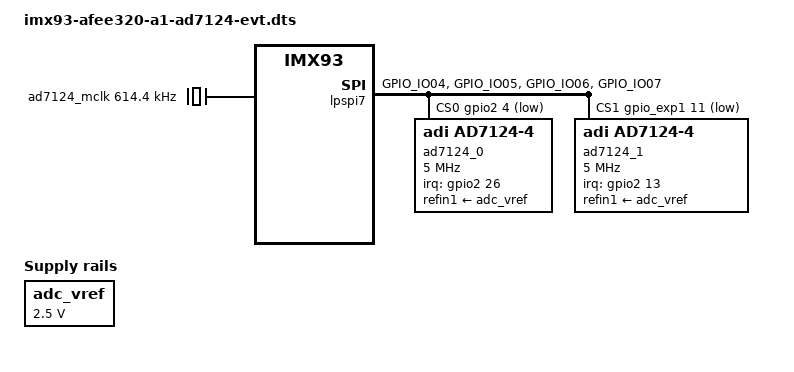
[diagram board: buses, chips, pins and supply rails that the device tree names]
// SPDX-License-Identifier: (GPL-2.0+ OR MIT)
/*
 * Copyright 2022 NXP
 */

#include "imx93-afee320-a1.dts"

/ {
	ad7124_mclk: ad7124_mclk {
		compatible = "fixed-clock";
		#clock-cells = <0>;
		clock-frequency = <614400>; /* 614.4kHz */
	};

	adc_vref: regulator-adv-vref-2v5 {
		compatible = "regulator-fixed";
		regulator-name = "adc_vref_2v5";
		regulator-min-microvolt = <2500000>;
		regulator-max-microvolt = <2500000>;
	};
};

&lpspi7 {
	num-cs = <2>;
	pinctrl-names = "default";
	pinctrl-0 = <&pinctrl_lpspi7>;
	pinctrl-1 = <&pinctrl_lpspi7>;
	cs-gpios = <&gpio2 4 GPIO_ACTIVE_LOW>, <&gpio_exp1 11 GPIO_ACTIVE_LOW>;
	status = "okay";

	ad7124_0: ad7124@0 {
		compatible = "adi,ad7124-4";
		reg = <0x0>;
		pinctrl-names = "default";
		pinctrl-0 = <&pinctrl_ad7124>;
		interrupt-parent = <&gpio2>;
		interrupts = <26 IRQ_TYPE_EDGE_FALLING>;
		spi-cpha;
		spi-cpol;
		spi-max-frequency = <5000000>;
		refin1-supply = <&adc_vref>;
		clocks = <&ad7124_mclk>;
		clock-names = "mclk";

		#address-cells = <1>;
		#size-cells = <0>;

		channel@0 {
			reg = <0>;
			diff-channels = <0 1>;
			adi,reference-select = <0>;
		};

		channel@1 {
			reg = <1>;
			diff-channels = <2 3>;
			adi,reference-select = <0>;
		};
	};

	ad7124_1: ad7124@1 {
		compatible = "adi,ad7124-4";
		reg = <0x1>;
		pinctrl-names = "default";
		pinctrl-0 = <&pinctrl_ad7124_1>;
		interrupt-parent = <&gpio2>;
		interrupts = <13 IRQ_TYPE_EDGE_FALLING>;
		spi-cpha;
		spi-cpol;
		spi-max-frequency = <5000000>;
		refin1-supply = <&adc_vref>;
		clocks = <&ad7124_mclk>;
		clock-names = "mclk";

		#address-cells = <1>;
		#size-cells = <0>;

		channel@0 {
			reg = <0>;
			diff-channels = <0 1>;
			adi,reference-select = <0>;
		};

		channel@1 {
			reg = <1>;
			diff-channels = <2 3>;
			adi,reference-select = <0>;
		};
	};
};

&iomuxc {

	pinctrl_lpspi7: lpspi7grp {
		fsl,pins = <
			MX93_PAD_GPIO_IO04__GPIO2_IO04		0x3fe
			MX93_PAD_GPIO_IO05__LPSPI7_SIN		0x3fe
			MX93_PAD_GPIO_IO06__LPSPI7_SOUT		0x3fe
			MX93_PAD_GPIO_IO07__LPSPI7_SCK		0x3fe
		>;
	};

	pinctrl_ad7124: ad7124grp {
		fsl,pins = <
			MX93_PAD_GPIO_IO26__GPIO2_IO26		0x3fe
		>;
	};

	pinctrl_ad7124_1: ad7124grp1 {
		fsl,pins = <
			MX93_PAD_GPIO_IO13__GPIO2_IO13		0x3fe
		>;
	};
};
